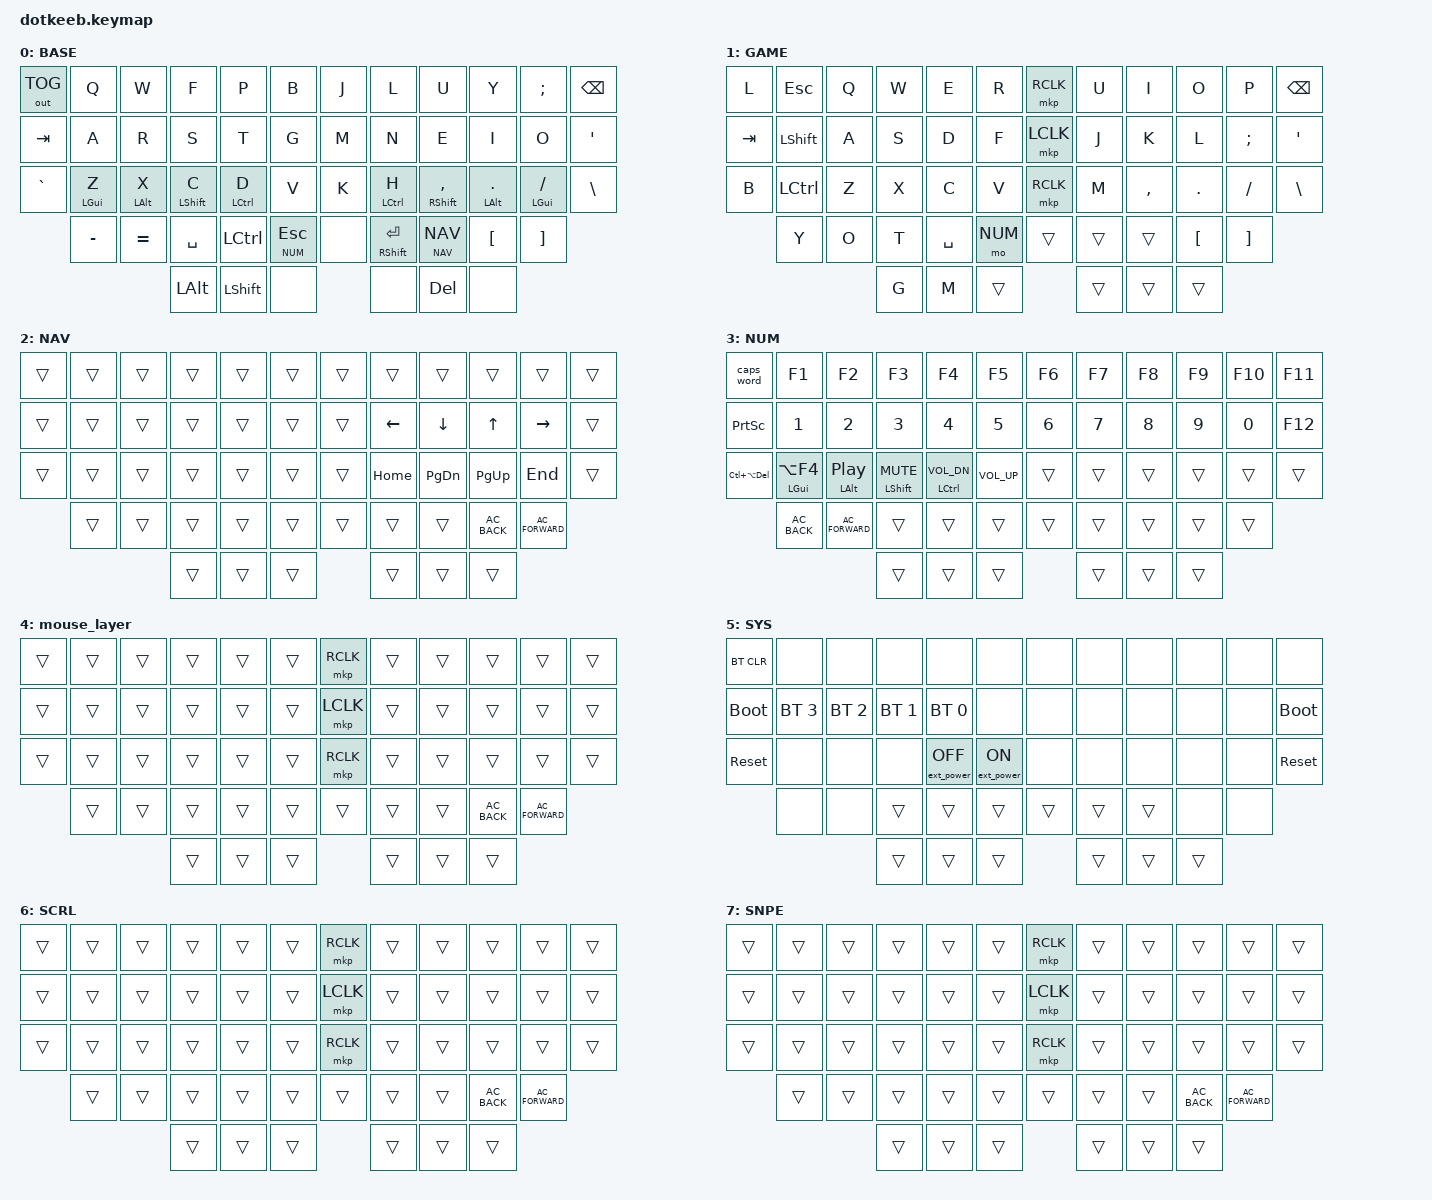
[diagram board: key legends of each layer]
#include <behaviors.dtsi>
#include <dt-bindings/zmk/bt.h>
#include <dt-bindings/zmk/keys.h>
#include <dt-bindings/zmk/outputs.h>
#include <dt-bindings/zmk/ext_power.h>
#include <dt-bindings/zmk/mouse.h>

#define DEF 0 // default layer
#define GME 1 // game layer
#define NAV 2 // navigation layer
#define NUM 3 // secondary num layer
#define MSK 4 // mouse key layer
#define SYS 5 // system layer
#define MSC 6 // mouse scroll layer
#define MSS 7 // mouse snipe layer

/ {  
    combos {
        compatible = "zmk,combos";
        combo_sys {
            timeout-ms = <50>;
            key-positions = <38 39 40>;
            bindings = <&tog SYS>;
        };
        combo_game {
            timeout-ms = <50>;
            key-positions = <36 37>;
            bindings = <&tog GME>;
        };
        combo_return {
            timeout-ms = <50>;
            key-positions = <18 30>;
            bindings = <&kp RET>;
        };
    };

    behaviors {
      hml: left_positional_hold_tap {
        compatible = "zmk,behavior-hold-tap";
        #binding-cells = <2>;
        flavor = "balanced";
        tapping-term-ms = <250>;
        quick-tap-ms = <175>;
        require-prior-idle-ms = <120>;
        bindings = <&kp>, <&kp>;
        hold-trigger-key-positions = <6 7 8 9 10 11 18 19 20 21 22 23 30 31 32 33 34 35 41 42 43 44 45 48 49>;    // <---[[right-hand keys]]
        hold-trigger-on-release;
      };

      hmr: right_positional_hold_tap {
        compatible = "zmk,behavior-hold-tap";
        #binding-cells = <2>;
        flavor = "balanced";
        tapping-term-ms = <250>;
        quick-tap-ms = <175>;
        require-prior-idle-ms = <120>;
        bindings = <&kp>, <&kp>;
        hold-trigger-key-positions = <0 1 2 3 4 5 12 13 14 15 16 17 24 25 26 27 28 29 36 37 38 39 40 46 47>;    // <---[[left-hand keys]]
        hold-trigger-on-release;
      };
      mtg: behavior_mo_tog {
          compatible = "zmk,behavior-hold-tap";
          #binding-cells = <2>;
          flavor = "hold-preferred";
          tapping-term-ms = <100>;
          bindings = <&mo>, <&tog>;
      };
      ntg: nav_toggle {
          compatible = "zmk,behavior-hold-tap";
          #binding-cells = <2>;
          flavor = "hold-preferred";
          tapping-term-ms = <200>;
          quick-tap-ms = <200>;
          // require-prior-idle-ms = <125>;
          bindings = <&mo>, <&nav_word>;
      };

      nav_word: nav_word {
        compatible = "zmk,behavior-auto-layer";
        #binding-cells = <1>;
        continue-list = <LEFT DOWN UP RIGHT PG_UP PG_DN>;  
        ignore-modifiers;
      };

    };
    keymap {
        compatible = "zmk,keymap";

        default_layer {
// --------------------------------------------------------------------------------------------------------------------------------------------------------------------
// |   0    |    1     |    2     |    3     |    4     |    5     |              |    6     |    7     |    8     |    9     |    10    |    11    |
// |   12   |    13    |    14    |    15    |    16    |    17    |              |    18    |    19    |    20    |    21    |    22    |    23    |
// |   24   |    25    |    26    |    27    |    28    |    29    |              |    30    |    31    |    32    |    33    |    34    |    35    |
//          |    36    |    37    |    38    |    39    |    40    |              |    41    |    42    |    43    |    44    |    45    |
//                                |    46    |    47    |                                    |    48    |    49    |
            bindings = <
    &out OUT_TOG &kp Q       &kp W       &kp F        &kp P        &kp B             &kp J        &kp L         &kp U            &kp Y         &kp SEMI        &kp BSPC
    &kp TAB      &kp A       &kp R       &kp S        &kp T        &kp G             &kp M        &kp N         &kp E            &kp I         &kp O           &kp SQT
    &kp GRAVE    &hml LGUI Z &hml LALT X &hml LSHFT C &hml LCTRL D &kp V             &kp K        &hmr LCTRL H  &hmr RSHFT COMMA &hmr LALT DOT &hmr LGUI FSLH  &kp BSLH
                 &kp MINUS   &kp EQUAL   &kp SPACE    &kp LCTRL    &lt NUM ESC       &none        &mt RSHFT RET &ntg NAV NAV     &kp LBKT      &kp RBKT
                                         &kp LALT     &kp LSHFT                      &none        &none         &kp DEL            &none
            >;
            display-name = "BASE";
        };

        game_layer {
            bindings = <
     &kp L      &kp ESC   &kp Q     &kp W     &kp E     &kp R                      &mkp RCLK  &kp U     &kp I     &kp O    &kp P     &kp BSPC
     &kp TAB    &kp LSHFT &kp A     &kp S     &kp D     &kp F                      &mkp LCLK  &kp J     &kp K     &kp L    &kp SEMI  &kp SQT
     &kp B      &kp LCTRL &kp Z     &kp X     &kp C     &kp V                      &mkp RCLK  &kp M     &kp COMMA &kp DOT  &kp FSLH  &kp BSLH
                &kp Y     &kp O     &kp T     &kp SPACE &mo NUM                    &trans    &trans    &trans    &kp LBKT &kp RBKT
                                    &kp G     &kp M                                &trans    &trans    &trans    &trans
            >;
            display-name = "GAME";
        };

        nav_layer {
            bindings = <
     &trans     &trans    &trans    &trans   &trans   &trans                       &trans    &trans    &trans    &trans    &trans    &trans
     &trans     &trans    &trans    &trans   &trans   &trans                       &trans    &kp LEFT  &kp DOWN  &kp UP    &kp RIGHT &trans
     &trans     &trans    &trans    &trans   &trans   &trans                       &trans    &kp HOME  &kp PG_DN &kp PG_UP &kp END   &trans
                &trans    &trans    &trans   &trans   &trans                       &trans    &trans    &trans    &kp C_AC_BACK  &kp C_AC_FORWARD
                                    &trans   &trans                                &trans    &trans    &trans    &trans
            >;
            display-name = "NAV";
        };

        l1_layer {
            bindings = <
    &caps_word      &kp F1           &kp F2         &kp F3            &kp F4              &kp F5          &kp F6    &kp F7    &kp F8    &kp F9    &kp F10   &kp F11
    &kp PSCRN       &kp N1           &kp N2         &kp N3            &kp N4              &kp N5          &kp N6    &kp N7    &kp N8    &kp N9    &kp N0    &kp F12
    &kp LC(LA(DEL)) &hml LGUI LA(F4) &hml LALT C_PP &hml LSHFT C_MUTE &hml LCTRL C_VOL_DN &kp C_VOL_UP    &trans    &trans    &trans    &trans    &trans    &trans
                    &kp C_AC_BACK  &kp C_AC_FORWARD &trans            &trans              &trans          &trans    &trans    &trans    &trans    &trans
                                                    &trans            &trans                                        &trans    &trans    &trans    &trans
            >;
            display-name = "NUM";
        };

        mouse_layer {
            bindings = <
     &trans     &trans    &trans    &trans   &trans   &trans                      &mkp RCLK     &trans    &trans    &trans  &trans   &trans
     &trans     &trans    &trans    &trans   &trans   &trans                      &mkp LCLK     &trans    &trans    &trans  &trans   &trans
     &trans     &trans    &trans    &trans   &trans   &trans                      &mkp RCLK     &trans    &trans    &trans  &trans   &trans
                &trans    &trans    &trans   &trans   &trans                      &trans        &trans    &trans    &kp C_AC_BACK  &kp C_AC_FORWARD
                                    &trans   &trans                               &trans        &trans    &trans    &trans
            >;
        };

        sys_layer {
            bindings = <
     &bt BT_CLR  &none        &none        &none        &none        &none                               &none   &none     &none    &none     &none  &none
     &bootloader &bt BT_SEL 3 &bt BT_SEL 2 &bt BT_SEL 1 &bt BT_SEL 0 &none                               &none   &none     &none    &none     &none  &bootloader
     &sys_reset  &none        &none        &none        &ext_power EP_OFF &ext_power EP_ON               &none   &none     &none    &none     &none  &sys_reset
                 &none        &none        &trans       &trans       &trans                              &trans  &trans    &trans   &none     &none
                                           &trans       &trans                                           &trans  &trans    &trans   &trans
            >;

            display-name = "SYS";
        };
        scrl_layer {
            bindings = <
     &trans     &trans    &trans    &trans   &trans   &trans                       &mkp RCLK     &trans    &trans    &trans  &trans   &trans
     &trans     &trans    &trans    &trans   &trans   &trans                       &mkp LCLK     &trans    &trans    &trans  &trans   &trans
     &trans     &trans    &trans    &trans   &trans   &trans                       &mkp RCLK     &trans    &trans    &trans  &trans    &trans
                &trans    &trans    &trans   &trans   &trans                       &trans        &trans    &trans    &kp C_AC_BACK  &kp C_AC_FORWARD
                                    &trans   &trans                                &trans        &trans    &trans    &trans
            >;

            display-name = "SCRL";
        };
        snipe_layer {
            bindings = <
     &trans     &trans    &trans    &trans   &trans   &trans                       &mkp RCLK     &trans    &trans    &trans  &trans   &trans
     &trans     &trans    &trans    &trans   &trans   &trans                       &mkp LCLK     &trans    &trans    &trans  &trans   &trans
     &trans     &trans    &trans    &trans   &trans   &trans                       &mkp RCLK     &trans    &trans    &trans  &trans    &trans
                &trans    &trans    &trans   &trans   &trans                       &trans        &trans    &trans    &kp C_AC_BACK  &kp C_AC_FORWARD
                                    &trans   &trans                                &trans        &trans    &trans    &trans
            >;

            display-name = "SNPE";
        };
    };
};
